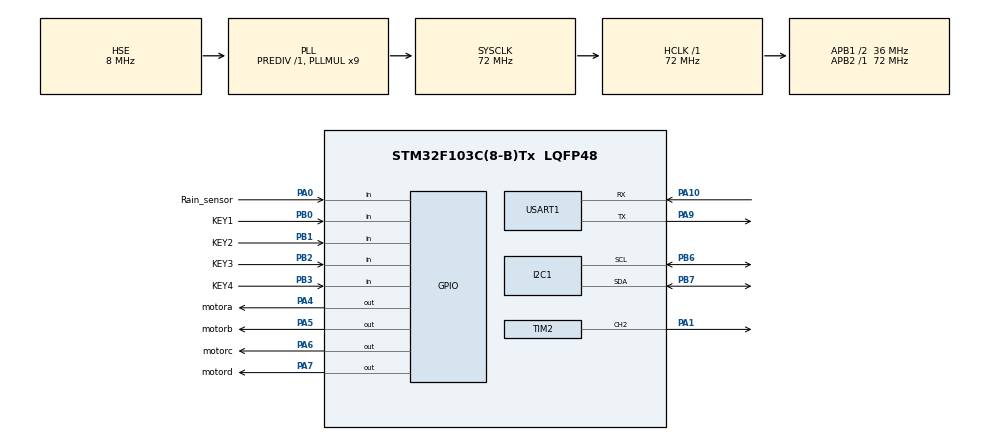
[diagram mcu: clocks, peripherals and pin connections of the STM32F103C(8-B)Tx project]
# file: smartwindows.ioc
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Dma.Request0=USART1_RX
Dma.USART1_RX.0.Direction=DMA_PERIPH_TO_MEMORY
Dma.USART1_RX.0.Instance=DMA1_Channel5
Dma.USART1_RX.0.MemDataAlignment=DMA_MDATAALIGN_BYTE
Dma.USART1_RX.0.MemInc=DMA_MINC_ENABLE
Dma.USART1_RX.0.Mode=DMA_NORMAL
Dma.USART1_RX.0.PeriphDataAlignment=DMA_PDATAALIGN_BYTE
Dma.USART1_RX.0.PeriphInc=DMA_PINC_DISABLE
Dma.USART1_RX.0.Priority=DMA_PRIORITY_LOW
I2C1.I2C_Mode=I2C_Fast
Mcu.Family=STM32F1
Mcu.Name=STM32F103C(8-B)Tx
Mcu.Package=LQFP48
NVIC.DMA1_Channel5_IRQn=true\:0\:0\:false\:false\:true\:false\:true\:true
NVIC.PriorityGroup=NVIC_PRIORITYGROUP_4
NVIC.TIM3_IRQn=true\:0\:0\:false\:false\:true\:true\:true\:true
NVIC.TIM4_IRQn=true\:0\:0\:false\:false\:true\:true\:true\:true
NVIC.USART1_IRQn=true\:0\:0\:false\:false\:true\:false\:true\:true
PA0-WKUP.GPIO_Label=Rain_sensor
PA0-WKUP.GPIO_PuPd=GPIO_PULLDOWN
PA0-WKUP.Signal=GPIO_Input
PA1.Signal=S_TIM2_CH2
PA10.Mode=Asynchronous
PA10.Signal=USART1_RX
PA13.Mode=Serial_Wire
PA13.Signal=SYS_JTMS-SWDIO
PA14.Mode=Serial_Wire
PA14.Signal=SYS_JTCK-SWCLK
PA4.GPIO_Label=motora
PA4.GPIO_Speed=GPIO_SPEED_FREQ_HIGH
PA4.Signal=GPIO_Output
PA5.GPIO_Label=motorb
PA5.GPIO_Speed=GPIO_SPEED_FREQ_HIGH
PA5.Signal=GPIO_Output
PA6.GPIO_Label=motorc
PA6.GPIO_Speed=GPIO_SPEED_FREQ_HIGH
PA6.Signal=GPIO_Output
PA7.GPIO_Label=motord
PA7.GPIO_Speed=GPIO_SPEED_FREQ_HIGH
PA7.Signal=GPIO_Output
PA9.Mode=Asynchronous
PA9.Signal=USART1_TX
PB0.GPIO_Label=KEY1
PB0.GPIO_PuPd=GPIO_PULLUP
PB0.Signal=GPIO_Input
PB1.GPIO_Label=KEY2
PB1.GPIO_PuPd=GPIO_PULLUP
PB1.Signal=GPIO_Input
PB2.GPIO_Label=KEY3
PB2.GPIO_PuPd=GPIO_PULLUP
PB2.Signal=GPIO_Input
PB3.GPIO_Label=KEY4
PB3.GPIO_PuPd=GPIO_PULLUP
PB3.Signal=GPIO_Input
PB6.Mode=I2C
PB6.Signal=I2C1_SCL
PB7.Mode=I2C
PB7.Signal=I2C1_SDA
PD0-OSC_IN.Mode=HSE-External-Oscillator
PD0-OSC_IN.Signal=RCC_OSC_IN
PD1-OSC_OUT.Mode=HSE-External-Oscillator
PD1-OSC_OUT.Signal=RCC_OSC_OUT
ProjectManager.HeapSize=0x200
ProjectManager.StackSize=0x400
ProjectManager.TargetToolchain=MDK-ARM V5.32
RCC.AHBFreq_Value=72000000
RCC.APB1CLKDivider=RCC_HCLK_DIV2
RCC.APB1Freq_Value=36000000
RCC.APB1TimFreq_Value=72000000
RCC.APB2Freq_Value=72000000
RCC.APB2TimFreq_Value=72000000
RCC.HCLKFreq_Value=72000000
RCC.PLLMUL=RCC_PLL_MUL9
RCC.PLLSourceVirtual=RCC_PLLSOURCE_HSE
RCC.SYSCLKFreq_VALUE=72000000
RCC.SYSCLKSource=RCC_SYSCLKSOURCE_PLLCLK
RCC.USBFreq_Value=72000000
SH.S_TIM2_CH2.0=TIM2_CH2,PWM Generation2 CH2
TIM2.Channel-PWM\ Generation2\ CH2=TIM_CHANNEL_2
TIM2.Period=19999
TIM2.Prescaler=71
TIM3.Period=999
TIM3.Prescaler=71
TIM4.Period=4999
TIM4.Prescaler=7199
USART1.VirtualMode=VM_ASYNC
VP_TIM3_VS_ClockSourceINT.Mode=Internal
VP_TIM4_VS_ClockSourceINT.Mode=Internal
board=custom

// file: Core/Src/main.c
/* USER CODE BEGIN Header */
/**
  ******************************************************************************
  * @file           : main.c
  * @brief          : Main program body
  ******************************************************************************
  * @attention
  *
  * Copyright (c) 2026 STMicroelectronics.
  * All rights reserved.
  *
  * This software is licensed under terms that can be found in the LICENSE file
  * in the root directory of this software component.
  * If no LICENSE file comes with this software, it is provided AS-IS.
  *
  ******************************************************************************
  */
/* USER CODE END Header */
#include "main.h"
#include "dma.h"
#include "i2c.h"
#include "tim.h"
#include "usart.h"
#include "gpio.h"

/* USER CODE BEGIN Includes */
#include "bh1750.h"
#include "rain_sensor.h"
#include "stepper.h"
#include "servo.h"
#include "key.h"
#include "uart_protocol.h"
#include "vofa_protocol.h"
#include "control_logic.h"
/* USER CODE END Includes */

/* USER CODE BEGIN PV */
volatile uint8_t g_tim4_flag = 0;  /* TIM4 500ms周期标志位 (中断里只置位, 主循环里处理) */
/* USER CODE END PV */

void SystemClock_Config(void);

/* USER CODE BEGIN 0 */

/* ===== 系统时钟源选择 =====
 * 1 = 使用外部HSE晶振 (8MHz × 9 = 72MHz) → 实体板 / Proteus仿真用
 * 0 = 使用内部HSI振荡器 (8MHz/2 × 16 = 64MHz) → 备用方案
 * Proteus仿真外部晶振(8MHz)最稳定, 推荐HSE; HSI+PLL在Proteus下USART可能异常
 */
#define USE_HSE_CLOCK  1

/* USER CODE END 0 */

int main(void)
{

  /* USER CODE BEGIN 1 */
  /* ===== MINIMAL_TEST已删除 (排查阶段测试代码) =====
     曾用于验证Proteus仿真模型 + hex加载 + BOOT0是否正常。
     已确认问题根因是HSE时钟未起振, 改用HSI后程序正常启动。
     本测试代码已删除, 恢复完整正常的初始化流程。
  */
  /* USER CODE END 1 */

  /* MCU Configuration--------------------------------------------------------*/

  /* Reset of all peripherals, Initializes the Flash interface and the Systick. */
  HAL_Init();

  /* Configure the system clock */
  SystemClock_Config();

  /* Initialize all configured peripherals */
  MX_GPIO_Init();
  MX_DMA_Init();
  MX_USART1_UART_Init();
  MX_TIM2_Init();
  MX_TIM3_Init();
  MX_TIM4_Init();
  MX_I2C1_Init();
  /* USER CODE BEGIN 2 */

  /* === 第一步: 初始化所有用户模块 (TIM中断未启动, 安全) === */
  BH1750_Init();        /* 初始化光照传感器 (I2C阻塞式, 含180ms延迟) */
  Rain_Init();          /* 初始化雨滴传感器 (GPIO已由CubeMX配置) */
  Stepper_Init();       /* 初始化步进电机 (必须在TIM3启动前) */
  Servo_Init();         /* 初始化舵机 (TIM2 PWM已Init, 上电默认关窗) */
  Key_Init();           /* 初始化按键 */
  Control_Init();       /* 初始化控制逻辑 */

  /* === 第二步: 启动定时器 (模块完整初始化后) === */
  /* 注: HAL_TIM_PWM_Start(&htim2) 已在 Servo_Init() 内部调用, 此处无需重复 */
  HAL_TIM_Base_Start_IT(&htim3);              /* 启动步进电机1ms定时中断 */
  HAL_TIM_Base_Start_IT(&htim4);              /* 启动500ms任务调度中断 */

  /* === 第三步: 启动串口DMA接收 (最后启动) === */
  UART_Protocol_Init(); /* 启动DMA接收 + IDLE中断 */

  /* USER CODE END 2 */

  /* Infinite loop */
  while (1)
  {

    /* USER CODE BEGIN 3 */

    /* === 主循环任务 (所有阻塞操作均在此执行, 不在中断里) === */

    /* 任务1: TIM4 500ms周期任务 (传感器采集 + 控制逻辑 + VOFA+上传) */
    if (g_tim4_flag)
    {
        g_tim4_flag = 0;
        Control_TIM4_Callback();  /* 包含I2C读取, 必须在主循环中执行 */
    }

    /* 任务2: 按键扫描 (不阻塞, 轮询) */
    uint8_t key_event = Key_Scan();
    if (key_event != KEY_EVENT_NONE)
    {
        Control_KeyProcess(key_event);
    }

    /* 任务3: 串口数据解析 (检查IDLE标志) */
    UART_Protocol_Process();

  }
  /* USER CODE END 3 */
}

void SystemClock_Config(void)
{
  RCC_OscInitTypeDef RCC_OscInitStruct = {0};
  RCC_ClkInitTypeDef RCC_ClkInitStruct = {0};

#if USE_HSE_CLOCK
  /* ===== 外部HSE晶振: 8MHz × 9 = 72MHz (实体板用) ===== */
  RCC_OscInitStruct.OscillatorType = RCC_OSCILLATORTYPE_HSE;
  RCC_OscInitStruct.HSEState = RCC_HSE_ON;
  RCC_OscInitStruct.HSEPredivValue = RCC_HSE_PREDIV_DIV1;
  RCC_OscInitStruct.HSIState = RCC_HSI_ON;
  RCC_OscInitStruct.PLL.PLLState = RCC_PLL_ON;
  RCC_OscInitStruct.PLL.PLLSource = RCC_PLLSOURCE_HSE;
  RCC_OscInitStruct.PLL.PLLMUL = RCC_PLL_MUL9;
#else
  /* ===== 内部HSI振荡器: 8MHz/2 × 16 = 64MHz (Proteus仿真用) ===== */
  RCC_OscInitStruct.OscillatorType = RCC_OSCILLATORTYPE_HSI;
  RCC_OscInitStruct.HSIState = RCC_HSI_ON;
  RCC_OscInitStruct.HSICalibrationValue = RCC_HSICALIBRATION_DEFAULT;
  RCC_OscInitStruct.PLL.PLLState = RCC_PLL_ON;
  RCC_OscInitStruct.PLL.PLLSource = RCC_PLLSOURCE_HSI_DIV2;
  RCC_OscInitStruct.PLL.PLLMUL = RCC_PLL_MUL16;
#endif
  if (HAL_RCC_OscConfig(&RCC_OscInitStruct) != HAL_OK)
  {
    Error_Handler();
  }

  /** Initializes the CPU, AHB and APB buses clocks
  */
  RCC_ClkInitStruct.ClockType = RCC_CLOCKTYPE_HCLK|RCC_CLOCKTYPE_SYSCLK
                              |RCC_CLOCKTYPE_PCLK1|RCC_CLOCKTYPE_PCLK2;
  RCC_ClkInitStruct.SYSCLKSource = RCC_SYSCLKSOURCE_PLLCLK;
  RCC_ClkInitStruct.AHBCLKDivider = RCC_SYSCLK_DIV1;
  RCC_ClkInitStruct.APB1CLKDivider = RCC_HCLK_DIV2;
  RCC_ClkInitStruct.APB2CLKDivider = RCC_HCLK_DIV1;

  if (HAL_RCC_ClockConfig(&RCC_ClkInitStruct, FLASH_LATENCY_2) != HAL_OK)
  {
    Error_Handler();
  }
}

/* USER CODE BEGIN 4 */

/**
 * @brief  TIM定时器周期到达回调函数 (TIM3: 1ms步进电机, TIM4: 500ms任务调度)
 * @note   HAL_TIM_Base_Start_IT启动后, 每次TIM溢出自动调用此函数
 */
void HAL_TIM_PeriodElapsedCallback(TIM_HandleTypeDef *htim)
{
    if (htim->Instance == TIM3)
    {
        /* TIM3: 1ms中断, 驱动步进电机节拍 */
        /* 内部只有GPIO操作, 中断安全 */
        Stepper_TIM_Callback();
    }
    else if (htim->Instance == TIM4)
    {
        /* TIM4: 500ms中断, 只设标志位 */
        /* 不在中断里执行I2C/UART阻塞操作! 主循环检测g_tim4_flag后执行 */
        g_tim4_flag = 1;
    }
}

/* USER CODE END 4 */

void Error_Handler(void)
{
  __disable_irq();
  while (1)
  {
  }
}
